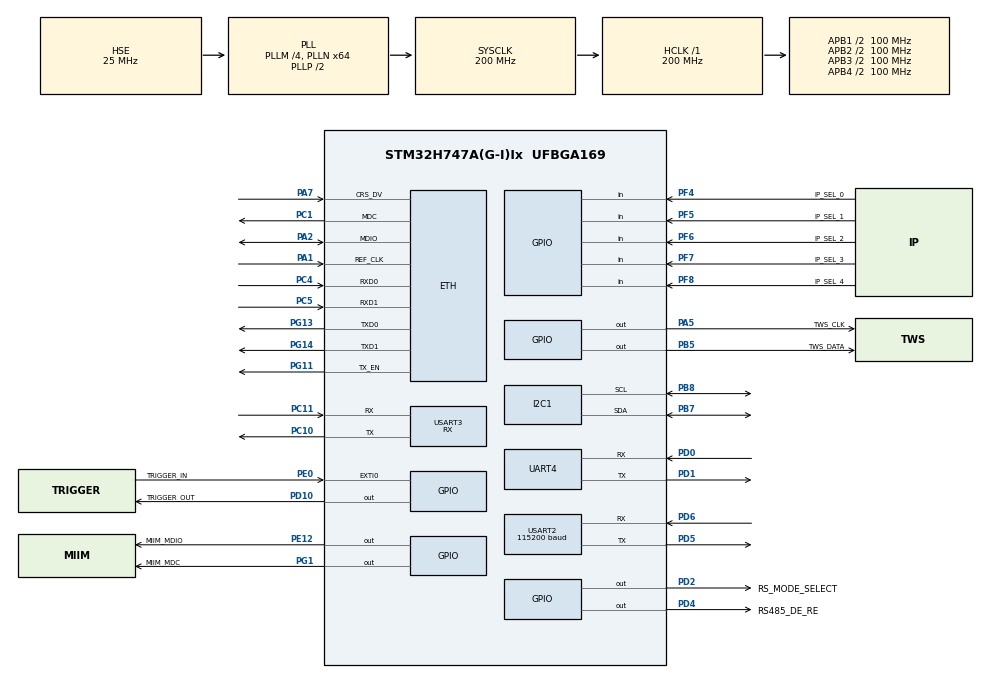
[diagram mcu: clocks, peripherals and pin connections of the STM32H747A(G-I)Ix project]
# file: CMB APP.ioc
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ADC3.Channel-1\#ChannelRegularConversion=ADC_CHANNEL_TEMPSENSOR
ADC3.ClockPrescalerADC3=ADC_CLOCK_ASYNC_DIV1
ADC3.NbrOfConversionFlag=1
ADC3.OffsetNumber-1\#ChannelRegularConversion=ADC_OFFSET_NONE
ADC3.OffsetSignedSaturation-1\#ChannelRegularConversion=DISABLE
ADC3.Rank-1\#ChannelRegularConversion=1
ADC3.SamplingTime-1\#ChannelRegularConversion=ADC_SAMPLETIME_810CYCLES_5
CORTEX_M7.AccessPermission_S-Cortex_Memory_Protection_Unit_Region1_Settings_S=MPU_REGION_FULL_ACCESS
CORTEX_M7.AccessPermission_S-Cortex_Memory_Protection_Unit_Region2_Settings_S=MPU_REGION_FULL_ACCESS
CORTEX_M7.BaseAddress_S-Cortex_Memory_Protection_Unit_Region1_Settings_S=0x30020000
CORTEX_M7.BaseAddress_S-Cortex_Memory_Protection_Unit_Region2_Settings_S=0x30040000
CORTEX_M7.CPU_DCache=Enabled
CORTEX_M7.CPU_ICache=Enabled
CORTEX_M7.DisableExec_S-Cortex_Memory_Protection_Unit_Region1_Settings_S=MPU_INSTRUCTION_ACCESS_DISABLE
CORTEX_M7.DisableExec_S-Cortex_Memory_Protection_Unit_Region2_Settings_S=MPU_INSTRUCTION_ACCESS_DISABLE
CORTEX_M7.Enable_S-Cortex_Memory_Protection_Unit_Region1_Settings_S=MPU_REGION_ENABLE
CORTEX_M7.Enable_S-Cortex_Memory_Protection_Unit_Region2_Settings_S=MPU_REGION_ENABLE
CORTEX_M7.IsBufferable_S-Cortex_Memory_Protection_Unit_Region2_Settings_S=MPU_ACCESS_BUFFERABLE
CORTEX_M7.IsShareable_S-Cortex_Memory_Protection_Unit_Region2_Settings_S=MPU_ACCESS_SHAREABLE
CORTEX_M7.Size_S-Cortex_Memory_Protection_Unit_Region1_Settings_S=MPU_REGION_SIZE_128KB
CORTEX_M7.Size_S-Cortex_Memory_Protection_Unit_Region2_Settings_S=MPU_REGION_SIZE_512B
CORTEX_M7.TypeExtField_S-Cortex_Memory_Protection_Unit_Region1_Settings_S=MPU_TEX_LEVEL1
CORTEX_M7.default_mode_Activation=1
CortexM4.IPs=CORTEX_M4\:I,FATFS_M4\:I,FREERTOS_M4\:I,IWDG2\:I,OPENAMP_M4\:I,PDM2PCM_M4\:I,PWR,RCC,RESMGR_UTILITY,SYS_M4\:I,USB_DEVICE_M4\:I,USB_HOST_M4\:I,VREFBUF,WWDG2\:I,GPIO,DMA,BDMA,MDMA,NVIC2\:I
CortexM7.IPs=CORTEX_M7\:I,FATFS_M7\:I,FREERTOS_M7\:I,IWDG1\:I,OPENAMP_M7\:I,PDM2PCM_M7\:I,PWR\:I,RCC\:I,RESMGR_UTILITY\:I,SYS\:I,USB_DEVICE_M7\:I,USB_HOST_M7\:I,VREFBUF\:I,WWDG1\:I,GPIO\:I,DMA\:I,BDMA\:I,MDMA\:I,NVIC1\:I,ETH\:I,LWIP\:I,TIM1\:I,DEBUG\:I,USART2\:I,USART3\:I,ADC3\:I,I2C1\:I,TIM6\:I,UART4\:I
CortexM7.Pins=PB5,PE0,PD4,PD2,PF4,PF5,PF6,PF7,PF8,PA5,PG1,PE12,PD10
Dma.Request0=USART3_RX
Dma.Request1=USART2_RX
Dma.Request2=UART4_RX
Dma.UART4_RX.2.Direction=DMA_PERIPH_TO_MEMORY
Dma.UART4_RX.2.EventEnable=DISABLE
Dma.UART4_RX.2.FIFOMode=DMA_FIFOMODE_DISABLE
Dma.UART4_RX.2.Instance=DMA1_Stream2
Dma.UART4_RX.2.MemDataAlignment=DMA_MDATAALIGN_BYTE
Dma.UART4_RX.2.MemInc=DMA_MINC_ENABLE
Dma.UART4_RX.2.Mode=DMA_CIRCULAR
Dma.UART4_RX.2.PeriphDataAlignment=DMA_PDATAALIGN_BYTE
Dma.UART4_RX.2.PeriphInc=DMA_PINC_DISABLE
Dma.UART4_RX.2.Polarity=HAL_DMAMUX_REQ_GEN_RISING
Dma.UART4_RX.2.Priority=DMA_PRIORITY_MEDIUM
Dma.UART4_RX.2.RequestNumber=1
Dma.UART4_RX.2.SignalID=NONE
Dma.UART4_RX.2.SyncEnable=DISABLE
Dma.UART4_RX.2.SyncPolarity=HAL_DMAMUX_SYNC_NO_EVENT
Dma.UART4_RX.2.SyncRequestNumber=1
Dma.UART4_RX.2.SyncSignalID=NONE
Dma.USART2_RX.1.Direction=DMA_PERIPH_TO_MEMORY
Dma.USART2_RX.1.EventEnable=DISABLE
Dma.USART2_RX.1.FIFOMode=DMA_FIFOMODE_ENABLE
Dma.USART2_RX.1.FIFOThreshold=DMA_FIFO_THRESHOLD_1QUARTERFULL
Dma.USART2_RX.1.Instance=DMA1_Stream1
Dma.USART2_RX.1.MemBurst=DMA_MBURST_SINGLE
Dma.USART2_RX.1.MemDataAlignment=DMA_MDATAALIGN_BYTE
Dma.USART2_RX.1.MemInc=DMA_MINC_ENABLE
Dma.USART2_RX.1.Mode=DMA_CIRCULAR
Dma.USART2_RX.1.PeriphBurst=DMA_PBURST_SINGLE
Dma.USART2_RX.1.PeriphDataAlignment=DMA_PDATAALIGN_BYTE
Dma.USART2_RX.1.PeriphInc=DMA_PINC_DISABLE
Dma.USART2_RX.1.Polarity=HAL_DMAMUX_REQ_GEN_RISING
Dma.USART2_RX.1.Priority=DMA_PRIORITY_HIGH
Dma.USART2_RX.1.RequestNumber=1
Dma.USART2_RX.1.SignalID=NONE
Dma.USART2_RX.1.SyncEnable=DISABLE
Dma.USART2_RX.1.SyncPolarity=HAL_DMAMUX_SYNC_NO_EVENT
Dma.USART2_RX.1.SyncRequestNumber=1
Dma.USART2_RX.1.SyncSignalID=NONE
Dma.USART3_RX.0.Direction=DMA_PERIPH_TO_MEMORY
Dma.USART3_RX.0.EventEnable=DISABLE
Dma.USART3_RX.0.FIFOMode=DMA_FIFOMODE_ENABLE
Dma.USART3_RX.0.FIFOThreshold=DMA_FIFO_THRESHOLD_1QUARTERFULL
Dma.USART3_RX.0.Instance=DMA1_Stream0
Dma.USART3_RX.0.MemBurst=DMA_MBURST_SINGLE
Dma.USART3_RX.0.MemDataAlignment=DMA_MDATAALIGN_BYTE
Dma.USART3_RX.0.MemInc=DMA_MINC_ENABLE
Dma.USART3_RX.0.Mode=DMA_CIRCULAR
Dma.USART3_RX.0.PeriphBurst=DMA_PBURST_SINGLE
Dma.USART3_RX.0.PeriphDataAlignment=DMA_PDATAALIGN_BYTE
Dma.USART3_RX.0.PeriphInc=DMA_PINC_DISABLE
Dma.USART3_RX.0.Polarity=HAL_DMAMUX_REQ_GEN_RISING
Dma.USART3_RX.0.Priority=DMA_PRIORITY_HIGH
Dma.USART3_RX.0.RequestNumber=1
Dma.USART3_RX.0.SignalID=NONE
Dma.USART3_RX.0.SyncEnable=DISABLE
Dma.USART3_RX.0.SyncPolarity=HAL_DMAMUX_SYNC_NO_EVENT
Dma.USART3_RX.0.SyncRequestNumber=1
Dma.USART3_RX.0.SyncSignalID=NONE
ETH.MACAddr=00\:80\:E1\:00\:08\:04
ETH.MediaInterface=HAL_ETH_RMII_MODE
ETH.RxBufferAddress=0x30040200
ETH.RxDescAddress=0x30040000
ETH.TxDescAddress=0x30040100
FREERTOS_M7.Tasks01=defaultTask,24,1024,StartDefaultTask,Default,NULL,Dynamic,NULL,NULL
FREERTOS_M7.configCHECK_FOR_STACK_OVERFLOW=2
FREERTOS_M7.configMINIMAL_STACK_SIZE=512
FREERTOS_M7.configRECORD_STACK_HIGH_ADDRESS=1
FREERTOS_M7.configTOTAL_HEAP_SIZE=64000
FREERTOS_M7.configUSE_NEWLIB_REENTRANT=1
I2C1.Timing=0x10C0ECFF
LWIP.BSP.number=1
LWIP.DEFAULT_THREAD_STACKSIZE=2048
LWIP.IP_ADDRESS=192.168.035.084
LWIP.LWIP_BROADCAST_PING=1
LWIP.LWIP_DBG_MIN_LEVEL=LWIP_DBG_MASK_LEVEL
LWIP.LWIP_DHCP=0
LWIP.LWIP_ICMP=1
LWIP.LWIP_MULTICAST_PING=1
LWIP.LWIP_NETCONN_SEM_PER_THREAD=0
LWIP.LWIP_NETIF_HOSTNAME=0
LWIP.LWIP_PERF=0
LWIP.LWIP_RAM_HEAP_POINTER=0x30020000
LWIP.LWIP_SO_RCVBUF=1
LWIP.LWIP_SO_RCVTIMEO=1
LWIP.LWIP_TCPIP_CORE_LOCKING=0
LWIP.LWIP_TCPIP_CORE_LOCKING_INPUT=0
LWIP.MEMP_NUM_SYS_TIMEOUT=300
LWIP.MEMP_NUM_TCP_PCB=50
LWIP.MEM_SIZE=131048
LWIP.NETMASK_ADDRESS=255.255.255.000
LWIP.PBUF_POOL_SIZE=32
LWIP.SLIPIF_THREAD_STACKSIZE=2048
LWIP.TCPIP_MBOX_SIZE=16
LWIP.TCPIP_THREAD_STACKSIZE=4096
LWIP.Version=v2.1.2_Cube
LWIP0.BSP.STBoard=false
LWIP0.BSP.api=BSP_COMPONENT_DRIVER
LWIP0.BSP.component=LAN8742
LWIP0.BSP.instance=LAN8742
LWIP0.BSP.name=Driver_PHY
LWIP0.BSP.semaphore=S_LAN8742
LWIP0.BSP.solution=LAN8742
Mcu.Family=STM32H7
Mcu.Name=STM32H747A(G-I)Ix
Mcu.Package=UFBGA169
NVIC1.DMA1_Stream0_IRQn=true\:5\:0\:false\:false\:true\:true\:false\:true\:true
NVIC1.DMA1_Stream1_IRQn=true\:5\:0\:false\:false\:true\:true\:false\:true\:true
NVIC1.DMA1_Stream2_IRQn=true\:5\:0\:false\:false\:true\:true\:false\:true\:true
NVIC1.ETH_IRQn=true\:5\:0\:false\:false\:true\:true\:true\:true\:true
NVIC1.EXTI0_IRQn=true\:5\:0\:true\:true\:true\:1\:true\:true\:true\:true
NVIC1.PriorityGroup=NVIC_PRIORITYGROUP_4
NVIC1.TIM6_DAC_IRQn=true\:15\:0\:false\:false\:true\:false\:false\:true\:true
NVIC1.TimeBase=TIM6_DAC_IRQn
NVIC1.TimeBaseIP=TIM6
NVIC1.UART4_IRQn=true\:5\:0\:false\:false\:true\:true\:true\:true\:true
NVIC1.USART2_IRQn=true\:5\:0\:false\:false\:true\:true\:true\:true\:true
NVIC1.USART3_IRQn=true\:5\:0\:false\:false\:true\:true\:true\:true\:true
NVIC2.PriorityGroup=NVIC_PRIORITYGROUP_4
PA1.GPIO_Speed=GPIO_SPEED_FREQ_VERY_HIGH
PA1.Mode=RMII
PA1.PinAttribute=CortexM7
PA1.Signal=ETH_REF_CLK
PA13\ (JTMS/SWDIO).Mode=Trace_Asynchronous_SW
PA13\ (JTMS/SWDIO).PinAttribute=CortexM7
PA13\ (JTMS/SWDIO).Signal=DEBUG_JTMS-SWDIO
PA14\ (JTCK/SWCLK).Mode=Trace_Asynchronous_SW
PA14\ (JTCK/SWCLK).PinAttribute=CortexM7
PA14\ (JTCK/SWCLK).Signal=DEBUG_JTCK-SWCLK
PA2.GPIO_Speed=GPIO_SPEED_FREQ_VERY_HIGH
PA2.Mode=RMII
PA2.PinAttribute=CortexM7
PA2.Signal=ETH_MDIO
PA5.GPIO_Label=TWS_CLK
PA5.GPIO_Speed=GPIO_SPEED_FREQ_VERY_HIGH
PA5.PinAttribute=CortexM7
PA5.Signal=GPIO_Output
PA7.GPIO_Speed=GPIO_SPEED_FREQ_VERY_HIGH
PA7.Mode=RMII
PA7.PinAttribute=CortexM7
PA7.Signal=ETH_CRS_DV
PB3\ (JTDO/TRACESWO).Mode=Trace_Asynchronous_SW
PB3\ (JTDO/TRACESWO).PinAttribute=CortexM7
PB3\ (JTDO/TRACESWO).Signal=DEBUG_JTDO-SWO
PB5.GPIO_Label=TWS_DATA
PB5.GPIO_Speed=GPIO_SPEED_FREQ_VERY_HIGH
PB5.PinAttribute=CortexM7
PB5.Signal=GPIO_Output
PB7.Mode=I2C
PB7.PinAttribute=CortexM7
PB7.Signal=I2C1_SDA
PB8.Mode=I2C
PB8.PinAttribute=CortexM7
PB8.Signal=I2C1_SCL
PC1.GPIO_Speed=GPIO_SPEED_FREQ_VERY_HIGH
PC1.Mode=RMII
PC1.PinAttribute=CortexM7
PC1.Signal=ETH_MDC
PC10.GPIO_ModeDefaultPP=GPIO_MODE_AF_PP
PC10.GPIO_PuPd=GPIO_NOPULL
PC10.GPIO_Speed=GPIO_SPEED_FREQ_LOW
PC10.Mode=Asynchronous
PC10.PinAttribute=CortexM7
PC10.Signal=USART3_TX
PC11.GPIO_ModeDefaultPP=GPIO_MODE_AF_PP
PC11.GPIO_PuPd=GPIO_NOPULL
PC11.GPIO_Speed=GPIO_SPEED_FREQ_LOW
PC11.Mode=Asynchronous
PC11.PinAttribute=CortexM7
PC11.Signal=USART3_RX
PC14-OSC32_IN\ (OSC32_IN).Mode=LSE-External-Clock-Source
PC14-OSC32_IN\ (OSC32_IN).PinAttribute=Free
PC14-OSC32_IN\ (OSC32_IN).Signal=RCC_OSC32_IN
PC4.GPIO_Speed=GPIO_SPEED_FREQ_VERY_HIGH
PC4.Mode=RMII
PC4.PinAttribute=CortexM7
PC4.Signal=ETH_RXD0
PC5.GPIO_Speed=GPIO_SPEED_FREQ_VERY_HIGH
PC5.Mode=RMII
PC5.PinAttribute=CortexM7
PC5.Signal=ETH_RXD1
PD0.GPIO_Speed=GPIO_SPEED_FREQ_HIGH
PD0.Mode=Asynchronous
PD0.PinAttribute=CortexM7
PD0.Signal=UART4_RX
PD1.GPIO_Speed=GPIO_SPEED_FREQ_HIGH
PD1.Mode=Asynchronous
PD1.PinAttribute=CortexM7
PD1.Signal=UART4_TX
PD10.GPIO_Label=TRIGGER_OUT
PD10.GPIO_PuPd=GPIO_PULLDOWN
PD10.GPIO_Speed=GPIO_SPEED_FREQ_VERY_HIGH
PD10.PinAttribute=CortexM7
PD10.Signal=GPIO_Output
PD2.GPIO_Label=RS_MODE_SELECT
PD2.GPIO_PuPd=GPIO_PULLDOWN
PD2.PinAttribute=CortexM7
PD2.Signal=GPIO_Output
PD4.GPIO_Label=RS485_DE_RE
PD4.GPIO_PuPd=GPIO_PULLDOWN
PD4.PinAttribute=CortexM7
PD4.Signal=GPIO_Output
PD5.Mode=Asynchronous
PD5.PinAttribute=CortexM7
PD5.Signal=USART2_TX
PD6.Mode=Asynchronous
PD6.PinAttribute=CortexM7
PD6.Signal=USART2_RX
PE0.GPIO_Label=TRIGGER_IN
PE0.GPIO_ModeDefaultEXTI=GPIO_MODE_IT_RISING_FALLING
PE0.PinAttribute=CortexM7
PE0.Signal=GPXTI0
PE12.GPIO_Label=MIIM_MDIO
PE12.GPIO_Speed=GPIO_SPEED_FREQ_VERY_HIGH
PE12.PinAttribute=CortexM7
PE12.Signal=GPIO_Output
PF4.GPIO_Label=IP_SEL_0
PF4.GPIO_PuPd=GPIO_PULLUP
PF4.PinAttribute=CortexM7
PF4.Signal=GPIO_Input
PF5.GPIO_Label=IP_SEL_1
PF5.PinAttribute=CortexM7
PF5.Signal=GPIO_Input
PF6.GPIO_Label=IP_SEL_2
PF6.PinAttribute=CortexM7
PF6.Signal=GPIO_Input
PF7.GPIO_Label=IP_SEL_3
PF7.PinAttribute=CortexM7
PF7.Signal=GPIO_Input
PF8.GPIO_Label=IP_SEL_4
PF8.PinAttribute=CortexM7
PF8.Signal=GPIO_Input
PG1.GPIO_Label=MIIM_MDC
PG1.GPIO_PuPd=GPIO_PULLDOWN
PG1.GPIO_Speed=GPIO_SPEED_FREQ_VERY_HIGH
PG1.PinAttribute=CortexM7
PG1.Signal=GPIO_Output
PG11.GPIO_Speed=GPIO_SPEED_FREQ_VERY_HIGH
PG11.Mode=RMII
PG11.PinAttribute=CortexM7
PG11.Signal=ETH_TX_EN
PG13.GPIO_Speed=GPIO_SPEED_FREQ_VERY_HIGH
PG13.Mode=RMII
PG13.PinAttribute=CortexM7
PG13.Signal=ETH_TXD0
PG14.GPIO_Speed=GPIO_SPEED_FREQ_VERY_HIGH
PG14.Mode=RMII
PG14.PinAttribute=CortexM7
PG14.Signal=ETH_TXD1
PH0-OSC_IN\ (PH0).Mode=HSE-External-Clock-Source
PH0-OSC_IN\ (PH0).PinAttribute=Free
PH0-OSC_IN\ (PH0).Signal=RCC_OSC_IN
ProjectManager.HeapSize=M4-0x200,M7-0x200
ProjectManager.StackSize=M4-0x400,M7-0x400
ProjectManager.TargetToolchain=STM32CubeIDE
RCC.ADCFreq_Value=50000000
RCC.APB1Freq_Value=100000000
RCC.APB2Freq_Value=100000000
RCC.APB3Freq_Value=100000000
RCC.APB4Freq_Value=100000000
RCC.CKPERSourceSelection=RCC_CLKPSOURCE_HSE
RCC.CortexFreq_Value=200000000
RCC.D1PPRE=RCC_APB3_DIV2
RCC.D2PPRE1=RCC_APB1_DIV2
RCC.D2PPRE2=RCC_APB2_DIV2
RCC.D3PPRE=RCC_APB4_DIV2
RCC.DIVM1=4
RCC.DIVM2=2
RCC.DIVM3=2
RCC.DIVN1=64
RCC.DIVN2=64
RCC.DIVN3=64
RCC.DIVP2=16
RCC.HCLKFreq_Value=200000000
RCC.PLLSourceVirtual=RCC_PLLSOURCE_HSE
RCC.PWR_Regulator_Voltage_Scale=PWR_REGULATOR_VOLTAGE_SCALE0
RCC.SYSCLKFreq_VALUE=200000000
RCC.SYSCLKSource=RCC_SYSCLKSOURCE_PLLCLK
RCC.SupplySource=PWR_LDO_SUPPLY
RCC.USBFreq_Value=200000000
SYS.userName=SYS_M7
TIM1.AutoReloadPreload=TIM_AUTORELOAD_PRELOAD_ENABLE
TIM1.Prescaler=59
USART2.AutoBaudRateEnableParam=UART_ADVFEATURE_AUTOBAUDRATE_DISABLE
USART2.BaudRate=115200
USART2.DataInvertParam=ADVFEATURE_DATAINV_DISABLE
USART2.VirtualMode-Asynchronous=VM_ASYNC
USART3.AutoBaudRateEnableParam=UART_ADVFEATURE_AUTOBAUDRATE_DISABLE
USART3.Mode=MODE_RX
USART3.VirtualMode-Asynchronous=VM_ASYNC
VP_ADC3_TempSens_Input.Mode=IN-TempSens
VP_FREERTOS_M7_VS_CMSIS_V2.Mode=CMSIS_V2
VP_LWIP_VS_Enabled.Mode=Enabled
VP_SYS_M4_VS_Systick.Mode=SysTick
VP_SYS_VS_tim6.Mode=TIM6
VP_TIM1_VS_ClockSourceINT.Mode=Internal
board=custom

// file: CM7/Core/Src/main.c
/* USER CODE BEGIN Header */
/**
  ******************************************************************************
  * @file           : main.c
  * @brief          : Main program body
  ******************************************************************************
  * @attention
  *
  * Copyright (c) 2024 STMicroelectronics.
  * All rights reserved.
  *
  * This software is licensed under terms that can be found in the LICENSE file
  * in the root directory of this software component.
  * If no LICENSE file comes with this software, it is provided AS-IS.
  *
  ******************************************************************************
  */
/* USER CODE END Header */
#include "main.h"
#include "cmsis_os.h"
#include "lwip.h"

/* USER CODE BEGIN Includes */
#include "sht4x.h"
#include "tws_driver.h"
#include "lwiperf.h"
#include "serial_comm.h"
#include "udpclient.h"
#include "MQTTClient.h"
#include "MQTTTopic.h"
#include "mqtt_opts.h"
#include "PMB_comm.h"
/* USER CODE END Includes */

/* USER CODE BEGIN PTD */
int _write(int file, char *ptr, int len)
{
  int DataIdx;

  for (DataIdx = 0; DataIdx < len; DataIdx++)
  {
    ITM_SendChar(*ptr++);
  }
  return len;
}
/* USER CODE END PTD */

/* USER CODE BEGIN PD */

#ifndef HSEM_ID_0
#define HSEM_ID_0 (0U) /* HW semaphore 0*/
#endif

// Calibration values for temperature sensor from STM32 datasheet
#define TS_CAL1_ADDR ((uint16_t*) 0x1FF1E820) // Address for TS_CAL1
#define TS_CAL2_ADDR ((uint16_t*) 0x1FF1E840) // Address for TS_CAL2
#define MY_TS_CAL1_TEMP 30.0f  // Calibration temperature for TS_CAL1 (30°C)
#define MY_TS_CAL2_TEMP 110.0f // Calibration temperature for TS_CAL2 (110°C)
/* USER CODE END PD */

ADC_HandleTypeDef hadc3;

I2C_HandleTypeDef hi2c1;

TIM_HandleTypeDef htim1;

UART_HandleTypeDef huart4;
UART_HandleTypeDef huart2;
UART_HandleTypeDef huart3;
DMA_HandleTypeDef hdma_uart4_rx;
DMA_HandleTypeDef hdma_usart2_rx;
DMA_HandleTypeDef hdma_usart3_rx;

/* Definitions for defaultTask */
osThreadId_t defaultTaskHandle;
const osThreadAttr_t defaultTask_attributes = {
  .name = "defaultTask",
  .stack_size = 1024 * 4,
  .priority = (osPriority_t) osPriorityNormal,
};
/* USER CODE BEGIN PV */
int slot = 0;  // Define the global variable for the slot number
int Trigger_Switch = 0; // Default value (0 = disabled, 1 = enabled)
/* USER CODE END PV */

void SystemClock_Config(void);
static void MPU_Config(void);
static void MX_GPIO_Init(void);
static void MX_DMA_Init(void);
static void MX_TIM1_Init(void);
static void MX_USART2_UART_Init(void);
static void MX_USART3_UART_Init(void);
static void MX_ADC3_Init(void);
static void MX_I2C1_Init(void);
static void MX_UART4_Init(void);
void StartDefaultTask(void *argument);

static void MX_NVIC_Init(void);

int main(void)
{

  /* USER CODE BEGIN 1 */
//	NVIC_ClearPendingIRQ(TIM6_DAC_IRQn);
//
//    NVIC_DisableIRQ(TIM6_DAC_IRQn);

    /* Enable TIM6 clock and reset TIM6 */
    __HAL_RCC_TIM6_CLK_ENABLE();
    __HAL_RCC_TIM6_FORCE_RESET();
    __HAL_RCC_TIM6_RELEASE_RESET();
  /* USER CODE END 1 */
/* USER CODE BEGIN Boot_Mode_Sequence_0 */
  int32_t timeout;
/* USER CODE END Boot_Mode_Sequence_0 */

  /* MPU Configuration--------------------------------------------------------*/
  MPU_Config();

  /* Enable the CPU Cache */

  /* Enable I-Cache---------------------------------------------------------*/
  SCB_EnableICache();

  /* Enable D-Cache---------------------------------------------------------*/
  SCB_EnableDCache();

/* USER CODE BEGIN Boot_Mode_Sequence_1 */
  /* Wait until CPU2 boots and enters in stop mode or timeout*/
//  timeout = 0xFFFF;
//  while((__HAL_RCC_GET_FLAG(RCC_FLAG_D2CKRDY) != RESET) && (timeout-- > 0));
//  if ( timeout < 0 )
//  {
//  Error_Handler();
//  }
/* USER CODE END Boot_Mode_Sequence_1 */
  /* MCU Configuration--------------------------------------------------------*/

  /* Reset of all peripherals, Initializes the Flash interface and the Systick. */
  HAL_Init();

  /* Configure the system clock */
  SystemClock_Config();
/* USER CODE BEGIN Boot_Mode_Sequence_2 */
/* When system initialization is finished, Cortex-M7 will release Cortex-M4 by means of
HSEM notification */
/*HW semaphore Clock enable*/
//__HAL_RCC_HSEM_CLK_ENABLE();
///*Take HSEM */
//HAL_HSEM_FastTake(HSEM_ID_0);
///*Release HSEM in order to notify the CPU2(CM4)*/
//HAL_HSEM_Release(HSEM_ID_0,0);
///* wait until CPU2 wakes up from stop mode */
//timeout = 0xFFFF;
//while((__HAL_RCC_GET_FLAG(RCC_FLAG_D2CKRDY) == RESET) && (timeout-- > 0));
//if ( timeout < 0 )
//{
//Error_Handler();
//}
/* USER CODE END Boot_Mode_Sequence_2 */

  /* Initialize all configured peripherals */
  MX_GPIO_Init();
  MX_DMA_Init();
  MX_TIM1_Init();
  MX_USART2_UART_Init();
  MX_USART3_UART_Init();
  MX_ADC3_Init();
  MX_I2C1_Init();
  MX_UART4_Init();

  /* Initialize interrupts */
  MX_NVIC_Init();
  /* USER CODE BEGIN 2 */
  printf("Initializing\n");
  /* USER CODE END 2 */

  /* Init scheduler */
  osKernelInitialize();

  /* Create the thread(s) */
  /* creation of defaultTask */
  defaultTaskHandle = osThreadNew(StartDefaultTask, NULL, &defaultTask_attributes);

  /* Start scheduler */
  osKernelStart();

  /* We should never get here as control is now taken by the scheduler */

  /* Infinite loop */
  while (1)
  {

  }
}

void SystemClock_Config(void)
{
  RCC_OscInitTypeDef RCC_OscInitStruct = {0};
  RCC_ClkInitTypeDef RCC_ClkInitStruct = {0};

  /** Supply configuration update enable
  */
  HAL_PWREx_ConfigSupply(PWR_LDO_SUPPLY);

  /** Configure the main internal regulator output voltage
  */
  __HAL_PWR_VOLTAGESCALING_CONFIG(PWR_REGULATOR_VOLTAGE_SCALE1);

  while(!__HAL_PWR_GET_FLAG(PWR_FLAG_VOSRDY)) {}

  __HAL_RCC_SYSCFG_CLK_ENABLE();
  __HAL_PWR_VOLTAGESCALING_CONFIG(PWR_REGULATOR_VOLTAGE_SCALE0);

  while(!__HAL_PWR_GET_FLAG(PWR_FLAG_VOSRDY)) {}

  /** Initializes the RCC Oscillators according to the specified parameters
  * in the RCC_OscInitTypeDef structure.
  */
  RCC_OscInitStruct.OscillatorType = RCC_OSCILLATORTYPE_HSE;
  RCC_OscInitStruct.HSEState = RCC_HSE_BYPASS;
  RCC_OscInitStruct.PLL.PLLState = RCC_PLL_ON;
  RCC_OscInitStruct.PLL.PLLSource = RCC_PLLSOURCE_HSE;
  RCC_OscInitStruct.PLL.PLLM = 4;
  RCC_OscInitStruct.PLL.PLLN = 64;
  RCC_OscInitStruct.PLL.PLLP = 2;
  RCC_OscInitStruct.PLL.PLLQ = 2;
  RCC_OscInitStruct.PLL.PLLR = 2;
  RCC_OscInitStruct.PLL.PLLRGE = RCC_PLL1VCIRANGE_2;
  RCC_OscInitStruct.PLL.PLLVCOSEL = RCC_PLL1VCOWIDE;
  RCC_OscInitStruct.PLL.PLLFRACN = 0;
  if (HAL_RCC_OscConfig(&RCC_OscInitStruct) != HAL_OK)
  {
    Error_Handler();
  }

  /** Initializes the CPU, AHB and APB buses clocks
  */
  RCC_ClkInitStruct.ClockType = RCC_CLOCKTYPE_HCLK|RCC_CLOCKTYPE_SYSCLK
                              |RCC_CLOCKTYPE_PCLK1|RCC_CLOCKTYPE_PCLK2
                              |RCC_CLOCKTYPE_D3PCLK1|RCC_CLOCKTYPE_D1PCLK1;
  RCC_ClkInitStruct.SYSCLKSource = RCC_SYSCLKSOURCE_PLLCLK;
  RCC_ClkInitStruct.SYSCLKDivider = RCC_SYSCLK_DIV1;
  RCC_ClkInitStruct.AHBCLKDivider = RCC_HCLK_DIV1;
  RCC_ClkInitStruct.APB3CLKDivider = RCC_APB3_DIV2;
  RCC_ClkInitStruct.APB1CLKDivider = RCC_APB1_DIV2;
  RCC_ClkInitStruct.APB2CLKDivider = RCC_APB2_DIV2;
  RCC_ClkInitStruct.APB4CLKDivider = RCC_APB4_DIV2;

  if (HAL_RCC_ClockConfig(&RCC_ClkInitStruct, FLASH_LATENCY_2) != HAL_OK)
  {
    Error_Handler();
  }
}

/**
  * @brief NVIC Configuration.
  * @retval None
  */
static void MX_NVIC_Init(void)
{
  /* EXTI0_IRQn interrupt configuration */
  HAL_NVIC_SetPriority(EXTI0_IRQn, 5, 0);
  HAL_NVIC_EnableIRQ(EXTI0_IRQn);
}

static void MX_ADC3_Init(void)
{

  ADC_ChannelConfTypeDef sConfig = {0};

  /** Common config
  */
  hadc3.Instance = ADC3;
  hadc3.Init.ClockPrescaler = ADC_CLOCK_ASYNC_DIV1;
  hadc3.Init.ScanConvMode = ADC_SCAN_DISABLE;
  hadc3.Init.EOCSelection = ADC_EOC_SINGLE_CONV;
  hadc3.Init.LowPowerAutoWait = DISABLE;
  hadc3.Init.ContinuousConvMode = DISABLE;
  hadc3.Init.NbrOfConversion = 1;
  hadc3.Init.DiscontinuousConvMode = DISABLE;
  hadc3.Init.ExternalTrigConv = ADC_SOFTWARE_START;
  hadc3.Init.ExternalTrigConvEdge = ADC_EXTERNALTRIGCONVEDGE_NONE;
  hadc3.Init.ConversionDataManagement = ADC_CONVERSIONDATA_DR;
  hadc3.Init.Overrun = ADC_OVR_DATA_PRESERVED;
  hadc3.Init.LeftBitShift = ADC_LEFTBITSHIFT_NONE;
  hadc3.Init.OversamplingMode = DISABLE;
  hadc3.Init.Oversampling.Ratio = 1;
  if (HAL_ADC_Init(&hadc3) != HAL_OK)
  {
    Error_Handler();
  }
  hadc3.Init.Resolution = ADC_RESOLUTION_16B;
  if (HAL_ADC_Init(&hadc3) != HAL_OK)
  {
    Error_Handler();
  }

  /** Configure Regular Channel
  */
  sConfig.Channel = ADC_CHANNEL_TEMPSENSOR;
  sConfig.Rank = ADC_REGULAR_RANK_1;
  sConfig.SamplingTime = ADC_SAMPLETIME_810CYCLES_5;
  sConfig.SingleDiff = ADC_SINGLE_ENDED;
  sConfig.OffsetNumber = ADC_OFFSET_NONE;
  sConfig.Offset = 0;
  sConfig.OffsetSignedSaturation = DISABLE;
  if (HAL_ADC_ConfigChannel(&hadc3, &sConfig) != HAL_OK)
  {
    Error_Handler();
  }

}

static void MX_I2C1_Init(void)
{

  hi2c1.Instance = I2C1;
  hi2c1.Init.Timing = 0x10C0ECFF;
  hi2c1.Init.OwnAddress1 = 0;
  hi2c1.Init.AddressingMode = I2C_ADDRESSINGMODE_7BIT;
  hi2c1.Init.DualAddressMode = I2C_DUALADDRESS_DISABLE;
  hi2c1.Init.OwnAddress2 = 0;
  hi2c1.Init.OwnAddress2Masks = I2C_OA2_NOMASK;
  hi2c1.Init.GeneralCallMode = I2C_GENERALCALL_DISABLE;
  hi2c1.Init.NoStretchMode = I2C_NOSTRETCH_DISABLE;
  if (HAL_I2C_Init(&hi2c1) != HAL_OK)
  {
    Error_Handler();
  }

  /** Configure Analogue filter
  */
  if (HAL_I2CEx_ConfigAnalogFilter(&hi2c1, I2C_ANALOGFILTER_ENABLE) != HAL_OK)
  {
    Error_Handler();
  }

  /** Configure Digital filter
  */
  if (HAL_I2CEx_ConfigDigitalFilter(&hi2c1, 0) != HAL_OK)
  {
    Error_Handler();
  }

}

static void MX_TIM1_Init(void)
{

  TIM_ClockConfigTypeDef sClockSourceConfig = {0};
  TIM_MasterConfigTypeDef sMasterConfig = {0};

  htim1.Instance = TIM1;
  htim1.Init.Prescaler = 59;
  htim1.Init.CounterMode = TIM_COUNTERMODE_UP;
  htim1.Init.Period = 65535;
  htim1.Init.ClockDivision = TIM_CLOCKDIVISION_DIV1;
  htim1.Init.RepetitionCounter = 0;
  htim1.Init.AutoReloadPreload = TIM_AUTORELOAD_PRELOAD_ENABLE;
  if (HAL_TIM_Base_Init(&htim1) != HAL_OK)
  {
    Error_Handler();
  }
  sClockSourceConfig.ClockSource = TIM_CLOCKSOURCE_INTERNAL;
  if (HAL_TIM_ConfigClockSource(&htim1, &sClockSourceConfig) != HAL_OK)
  {
    Error_Handler();
  }
  sMasterConfig.MasterOutputTrigger = TIM_TRGO_RESET;
  sMasterConfig.MasterOutputTrigger2 = TIM_TRGO2_RESET;
  sMasterConfig.MasterSlaveMode = TIM_MASTERSLAVEMODE_DISABLE;
  if (HAL_TIMEx_MasterConfigSynchronization(&htim1, &sMasterConfig) != HAL_OK)
  {
    Error_Handler();
  }

}

static void MX_UART4_Init(void)
{

  huart4.Instance = UART4;
  huart4.Init.BaudRate = 115200;
  huart4.Init.WordLength = UART_WORDLENGTH_8B;
  huart4.Init.StopBits = UART_STOPBITS_1;
  huart4.Init.Parity = UART_PARITY_NONE;
  huart4.Init.Mode = UART_MODE_TX_RX;
  huart4.Init.HwFlowCtl = UART_HWCONTROL_NONE;
  huart4.Init.OverSampling = UART_OVERSAMPLING_16;
  huart4.Init.OneBitSampling = UART_ONE_BIT_SAMPLE_DISABLE;
  huart4.Init.ClockPrescaler = UART_PRESCALER_DIV1;
  huart4.AdvancedInit.AdvFeatureInit = UART_ADVFEATURE_NO_INIT;
  if (HAL_UART_Init(&huart4) != HAL_OK)
  {
    Error_Handler();
  }
  if (HAL_UARTEx_SetTxFifoThreshold(&huart4, UART_TXFIFO_THRESHOLD_1_8) != HAL_OK)
  {
    Error_Handler();
  }
  if (HAL_UARTEx_SetRxFifoThreshold(&huart4, UART_RXFIFO_THRESHOLD_1_8) != HAL_OK)
  {
    Error_Handler();
  }
  if (HAL_UARTEx_DisableFifoMode(&huart4) != HAL_OK)
  {
    Error_Handler();
  }

}

static void MX_USART2_UART_Init(void)
{

  huart2.Instance = USART2;
  huart2.Init.BaudRate = 115200;
  huart2.Init.WordLength = UART_WORDLENGTH_8B;
  huart2.Init.StopBits = UART_STOPBITS_1;
  huart2.Init.Parity = UART_PARITY_NONE;
  huart2.Init.Mode = UART_MODE_TX_RX;
  huart2.Init.HwFlowCtl = UART_HWCONTROL_NONE;
  huart2.Init.OverSampling = UART_OVERSAMPLING_16;
  huart2.Init.OneBitSampling = UART_ONE_BIT_SAMPLE_DISABLE;
  huart2.Init.ClockPrescaler = UART_PRESCALER_DIV1;
  huart2.AdvancedInit.AdvFeatureInit = UART_ADVFEATURE_NO_INIT;
  if (HAL_UART_Init(&huart2) != HAL_OK)
  {
    Error_Handler();
  }
  if (HAL_UARTEx_SetTxFifoThreshold(&huart2, UART_TXFIFO_THRESHOLD_1_8) != HAL_OK)
  {
    Error_Handler();
  }
  if (HAL_UARTEx_SetRxFifoThreshold(&huart2, UART_RXFIFO_THRESHOLD_1_8) != HAL_OK)
  {
    Error_Handler();
  }
  if (HAL_UARTEx_DisableFifoMode(&huart2) != HAL_OK)
  {
    Error_Handler();
  }

}

static void MX_USART3_UART_Init(void)
{

  huart3.Instance = USART3;
  huart3.Init.BaudRate = 115200;
  huart3.Init.WordLength = UART_WORDLENGTH_8B;
  huart3.Init.StopBits = UART_STOPBITS_1;
  huart3.Init.Parity = UART_PARITY_NONE;
  huart3.Init.Mode = UART_MODE_RX;
  huart3.Init.HwFlowCtl = UART_HWCONTROL_NONE;
  huart3.Init.OverSampling = UART_OVERSAMPLING_16;
  huart3.Init.OneBitSampling = UART_ONE_BIT_SAMPLE_DISABLE;
  huart3.Init.ClockPrescaler = UART_PRESCALER_DIV1;
  huart3.AdvancedInit.AdvFeatureInit = UART_ADVFEATURE_NO_INIT;
  if (HAL_UART_Init(&huart3) != HAL_OK)
  {
    Error_Handler();
  }
  if (HAL_UARTEx_SetTxFifoThreshold(&huart3, UART_TXFIFO_THRESHOLD_1_8) != HAL_OK)
  {
    Error_Handler();
  }
  if (HAL_UARTEx_SetRxFifoThreshold(&huart3, UART_RXFIFO_THRESHOLD_1_8) != HAL_OK)
  {
    Error_Handler();
  }
  if (HAL_UARTEx_DisableFifoMode(&huart3) != HAL_OK)
  {
    Error_Handler();
  }

}

static void MX_DMA_Init(void)
{

  /* DMA controller clock enable */
  __HAL_RCC_DMA1_CLK_ENABLE();

  /* DMA interrupt init */
  /* DMA1_Stream0_IRQn interrupt configuration */
  HAL_NVIC_SetPriority(DMA1_Stream0_IRQn, 5, 0);
  HAL_NVIC_EnableIRQ(DMA1_Stream0_IRQn);
  /* DMA1_Stream1_IRQn interrupt configuration */
  HAL_NVIC_SetPriority(DMA1_Stream1_IRQn, 5, 0);
  HAL_NVIC_EnableIRQ(DMA1_Stream1_IRQn);
  /* DMA1_Stream2_IRQn interrupt configuration */
  HAL_NVIC_SetPriority(DMA1_Stream2_IRQn, 5, 0);
  HAL_NVIC_EnableIRQ(DMA1_Stream2_IRQn);

}

static void MX_GPIO_Init(void)
{
  GPIO_InitTypeDef GPIO_InitStruct = {0};

  /* GPIO Ports Clock Enable */
  __HAL_RCC_GPIOB_CLK_ENABLE();
  __HAL_RCC_GPIOA_CLK_ENABLE();
  __HAL_RCC_GPIOD_CLK_ENABLE();
  __HAL_RCC_GPIOC_CLK_ENABLE();
  __HAL_RCC_GPIOE_CLK_ENABLE();
  __HAL_RCC_GPIOG_CLK_ENABLE();
  __HAL_RCC_GPIOF_CLK_ENABLE();

  /*Configure GPIO pin Output Level */
  HAL_GPIO_WritePin(TWS_DATA_GPIO_Port, TWS_DATA_Pin, GPIO_PIN_RESET);

  /*Configure GPIO pin Output Level */
  HAL_GPIO_WritePin(GPIOD, RS485_DE_RE_Pin|RS_MODE_SELECT_Pin|TRIGGER_OUT_Pin, GPIO_PIN_RESET);

  /*Configure GPIO pin Output Level */
  HAL_GPIO_WritePin(TWS_CLK_GPIO_Port, TWS_CLK_Pin, GPIO_PIN_RESET);

  /*Configure GPIO pin Output Level */
  HAL_GPIO_WritePin(MIIM_MDC_GPIO_Port, MIIM_MDC_Pin, GPIO_PIN_RESET);

  /*Configure GPIO pin Output Level */
  HAL_GPIO_WritePin(MIIM_MDIO_GPIO_Port, MIIM_MDIO_Pin, GPIO_PIN_RESET);

  /*Configure GPIO pin : TWS_DATA_Pin */
  GPIO_InitStruct.Pin = TWS_DATA_Pin;
  GPIO_InitStruct.Mode = GPIO_MODE_OUTPUT_PP;
  GPIO_InitStruct.Pull = GPIO_NOPULL;
  GPIO_InitStruct.Speed = GPIO_SPEED_FREQ_VERY_HIGH;
  HAL_GPIO_Init(TWS_DATA_GPIO_Port, &GPIO_InitStruct);

  /*Configure GPIO pin : TRIGGER_IN_Pin */
  GPIO_InitStruct.Pin = TRIGGER_IN_Pin;
  GPIO_InitStruct.Mode = GPIO_MODE_IT_RISING_FALLING;
  GPIO_InitStruct.Pull = GPIO_NOPULL;
  HAL_GPIO_Init(TRIGGER_IN_GPIO_Port, &GPIO_InitStruct);

  /*Configure GPIO pins : RS485_DE_RE_Pin RS_MODE_SELECT_Pin */
  GPIO_InitStruct.Pin = RS485_DE_RE_Pin|RS_MODE_SELECT_Pin;
  GPIO_InitStruct.Mode = GPIO_MODE_OUTPUT_PP;
  GPIO_InitStruct.Pull = GPIO_PULLDOWN;
  GPIO_InitStruct.Speed = GPIO_SPEED_FREQ_LOW;
  HAL_GPIO_Init(GPIOD, &GPIO_InitStruct);

  /*Configure GPIO pin : IP_SEL_0_Pin */
  GPIO_InitStruct.Pin = IP_SEL_0_Pin;
  GPIO_InitStruct.Mode = GPIO_MODE_INPUT;
  GPIO_InitStruct.Pull = GPIO_PULLUP;
  HAL_GPIO_Init(IP_SEL_0_GPIO_Port, &GPIO_InitStruct);

  /*Configure GPIO pins : IP_SEL_1_Pin IP_SEL_2_Pin IP_SEL_3_Pin IP_SEL_4_Pin */
  GPIO_InitStruct.Pin = IP_SEL_1_Pin|IP_SEL_2_Pin|IP_SEL_3_Pin|IP_SEL_4_Pin;
  GPIO_InitStruct.Mode = GPIO_MODE_INPUT;
  GPIO_InitStruct.Pull = GPIO_NOPULL;
  HAL_GPIO_Init(GPIOF, &GPIO_InitStruct);

  /*Configure GPIO pin : TWS_CLK_Pin */
  GPIO_InitStruct.Pin = TWS_CLK_Pin;
  GPIO_InitStruct.Mode = GPIO_MODE_OUTPUT_PP;
  GPIO_InitStruct.Pull = GPIO_NOPULL;
  GPIO_InitStruct.Speed = GPIO_SPEED_FREQ_VERY_HIGH;
  HAL_GPIO_Init(TWS_CLK_GPIO_Port, &GPIO_InitStruct);

  /*Configure GPIO pin : MIIM_MDC_Pin */
  GPIO_InitStruct.Pin = MIIM_MDC_Pin;
  GPIO_InitStruct.Mode = GPIO_MODE_OUTPUT_PP;
  GPIO_InitStruct.Pull = GPIO_PULLDOWN;
  GPIO_InitStruct.Speed = GPIO_SPEED_FREQ_VERY_HIGH;
  HAL_GPIO_Init(MIIM_MDC_GPIO_Port, &GPIO_InitStruct);

  /*Configure GPIO pin : MIIM_MDIO_Pin */
  GPIO_InitStruct.Pin = MIIM_MDIO_Pin;
  GPIO_InitStruct.Mode = GPIO_MODE_OUTPUT_PP;
  GPIO_InitStruct.Pull = GPIO_NOPULL;
  GPIO_InitStruct.Speed = GPIO_SPEED_FREQ_VERY_HIGH;
  HAL_GPIO_Init(MIIM_MDIO_GPIO_Port, &GPIO_InitStruct);

  /*Configure GPIO pin : TRIGGER_OUT_Pin */
  GPIO_InitStruct.Pin = TRIGGER_OUT_Pin;
  GPIO_InitStruct.Mode = GPIO_MODE_OUTPUT_PP;
  GPIO_InitStruct.Pull = GPIO_PULLDOWN;
  GPIO_InitStruct.Speed = GPIO_SPEED_FREQ_VERY_HIGH;
  HAL_GPIO_Init(TRIGGER_OUT_GPIO_Port, &GPIO_InitStruct);

}

/* USER CODE BEGIN 4 */
/**
  * @brief  GPIO EXTI callback
  * @param  GPIO_Pin: Specifies the pins connected to EXTI line
  * @retval None
  */
void HAL_GPIO_EXTI_Callback(uint16_t GPIO_Pin)
{
    // Check if the interrupt is triggered by TRIGGER_IN_Pin
    if (GPIO_Pin == TRIGGER_IN_Pin)
    {
        // Check if trigger functionality is enabled
        if (Trigger_Switch == 1)
        {
            // Read the state of the pin
            GPIO_PinState pinState = HAL_GPIO_ReadPin(TRIGGER_IN_GPIO_Port, TRIGGER_IN_Pin);

            // Send UDP message based on the pin state
            if (pinState == GPIO_PIN_RESET)
            {
                udpsend_trigger("1", 1); // For trigger data
            }
            else
            {
                udpsend_trigger("0", 1); // For trigger data
            }
        }
        else
        {
            // Trigger functionality is disabled, no action taken
            printf("Trigger functionality is disabled. No UDP message sent.\n");
        }
    }
}

/* USER CODE END 4 */

void StartDefaultTask(void *argument)
{
  /* init code for LWIP */
  MX_LWIP_Init();
  /* USER CODE BEGIN 5 */
  osDelay(50);
  ETH_PHY_IO_WriteReg(0, 0, 8448);
  osDelay(50);

  sensirion_i2c_init();

	/* Busy loop for initialization, because the main loop does not work without
	 * a sensor.
	 */
	while (sht4x_probe() != STATUS_OK) {
		printf("SHT sensor probing failed\n");
		sensirion_sleep_usec(1000000); /* sleep 1s */
	}
	printf("SHT sensor probing successful\n");

  // Variable to store ADC values and temperature
  uint32_t adc_value;
  float temperature;

  // Get the calibration values from memory
  uint16_t ts_cal1 = *TS_CAL1_ADDR;
  uint16_t ts_cal2 = *TS_CAL2_ADDR;

  const float TS_CAL1_TEMP = 30.0f;
  const float TS_CAL2_TEMP = 110.0f;

  // Topic for publishing temperature updates
  char temperature_topic[128];
  char humidity_topic[128];
  snprintf(temperature_topic, sizeof(temperature_topic), "CMB/slot%d/status/temperature", slot);
  snprintf(humidity_topic, sizeof(humidity_topic), "CMB/slot%d/status/humidity", slot);
  extern struct mqtt_connect_client_info_t mqtt_client_info;

  // Wait for PMB initialization (adjust delay as needed)
  osDelay(50);

  mqtt_example_init();  // Initial MQTT connection
  osDelay(50);
  publish_channel_config(mqtt_client, slot);
  osDelay(10);
  PMB_Comm_Init();
    for (;;)
    {
		osDelay(10);
//        PMB_Comm_ConfigureDCSwitch(port, channel, current_limit, on, status_burst);
//        osDelay(2000);
////        // Get the latest system status
//        PMB_SystemStatus_t status = PMB_GetLatestSystemStatus();
//
////		// Print the system status
//		printf("System Status:\n");
//		printf("Elapsed Time: %f s\n", status.elapsed_time);
//		printf("System State: %d\n", status.system_state);
//		printf("Fault Mask: %d\n", status.fault_mask);
//		PMB_Comm_ConfigureDCSwitch(port, channel, current_limit, off, status_burst);

//         Start ADC conversion for temperature
//		HAL_ADC_Start(&hadc3);
//		HAL_ADC_PollForConversion(&hadc3, HAL_MAX_DELAY);
//		adc_value = HAL_ADC_GetValue(&hadc3);
//
//		// Calculate temperature
//		temperature = ((float)(adc_value - ts_cal1) * (TS_CAL2_TEMP - TS_CAL1_TEMP) / (float)(ts_cal2 - ts_cal1)) + TS_CAL1_TEMP;
//
//		// Print and publish the temperature
//		printf("Temperature: %.2f°C\n", temperature);

//    	int32_t temperature, humidity;
//
//    	/* Measure temperature and relative humidity and store into variables
//    	 * temperature, humidity (each output multiplied by 1000).
//    	 */
//    	int8_t ret = sht4x_measure_blocking_read(&temperature, &humidity);
//    	if (ret == STATUS_OK) {
////    	    printf("measured temperature: %0.2f degreeCelsius, "
////    	           "measured humidity: %0.2f percentRH\n",
////    	           temperature / 1000.0f, humidity / 1000.0f);
//    		printf("measured");
//    	} else {
//    	    printf("error reading measurement\n");
//    	}
//
//    	/* Sleep for 1 second */
//    	sensirion_sleep_usec(10000);
//
//    	// Publish temperature data to the MQTT broker
//    	char temperature_message[64];
//    	snprintf(temperature_message, sizeof(temperature_message), "%.2f", temperature / 1000.0f);
//
//    	err_t err = mqtt_publish(mqtt_client,
//    	                         temperature_topic,          // Topic
//    	                         temperature_message,        // Message
//    	                         strlen(temperature_message),// Message length
//    	                         1,                          // QoS level
//    	                         0,                          // Retain flag
//    	                         mqtt_request_cb,            // Callback function
//    	                         LWIP_CONST_CAST(void*, &mqtt_client_info)); // Callback argument
//
//    	if (err != ERR_OK) {
//    	    LWIP_PLATFORM_DIAG(("Failed to publish temperature, error %d\n", err));
//    	}
//		osDelay(500);
//        char humidity_message[64];
//        snprintf(humidity_message, sizeof(humidity_message), "%.2f", humidity / 1000.0f);
//
//        err_t err_hum = mqtt_publish(mqtt_client,
//                                     humidity_topic,             // Topic
//                                     humidity_message,           // Message
//                                     strlen(humidity_message),   // Message length
//                                     1,                          // QoS level
//                                     0,                          // Retain flag
//                                     mqtt_request_cb,            // Callback function
//                                     LWIP_CONST_CAST(void*, &mqtt_client_info)); // Callback argument
//
//        if (err_hum != ERR_OK) {
//            LWIP_PLATFORM_DIAG(("Failed to publish humidity, error %d\n", err_hum));
//        }
//
//		// Delay for 2 seconds

    }
  /* USER CODE END 5 */
}

 /* MPU Configuration */

void MPU_Config(void)
{
  MPU_Region_InitTypeDef MPU_InitStruct = {0};

  /* Disables the MPU */
  HAL_MPU_Disable();

  /** Initializes and configures the Region and the memory to be protected
  */
  MPU_InitStruct.Enable = MPU_REGION_ENABLE;
  MPU_InitStruct.Number = MPU_REGION_NUMBER0;
  MPU_InitStruct.BaseAddress = 0x0;
  MPU_InitStruct.Size = MPU_REGION_SIZE_4GB;
  MPU_InitStruct.SubRegionDisable = 0x87;
  MPU_InitStruct.TypeExtField = MPU_TEX_LEVEL0;
  MPU_InitStruct.AccessPermission = MPU_REGION_NO_ACCESS;
  MPU_InitStruct.DisableExec = MPU_INSTRUCTION_ACCESS_DISABLE;
  MPU_InitStruct.IsShareable = MPU_ACCESS_SHAREABLE;
  MPU_InitStruct.IsCacheable = MPU_ACCESS_NOT_CACHEABLE;
  MPU_InitStruct.IsBufferable = MPU_ACCESS_NOT_BUFFERABLE;

  HAL_MPU_ConfigRegion(&MPU_InitStruct);

  /** Initializes and configures the Region and the memory to be protected
  */
  MPU_InitStruct.Number = MPU_REGION_NUMBER1;
  MPU_InitStruct.BaseAddress = 0x30020000;
  MPU_InitStruct.Size = MPU_REGION_SIZE_128KB;
  MPU_InitStruct.SubRegionDisable = 0x0;
  MPU_InitStruct.TypeExtField = MPU_TEX_LEVEL1;
  MPU_InitStruct.AccessPermission = MPU_REGION_FULL_ACCESS;
  MPU_InitStruct.IsShareable = MPU_ACCESS_NOT_SHAREABLE;

  HAL_MPU_ConfigRegion(&MPU_InitStruct);

  /** Initializes and configures the Region and the memory to be protected
  */
  MPU_InitStruct.Number = MPU_REGION_NUMBER2;
  MPU_InitStruct.BaseAddress = 0x30040000;
  MPU_InitStruct.Size = MPU_REGION_SIZE_512B;
  MPU_InitStruct.TypeExtField = MPU_TEX_LEVEL0;
  MPU_InitStruct.IsShareable = MPU_ACCESS_SHAREABLE;
  MPU_InitStruct.IsBufferable = MPU_ACCESS_BUFFERABLE;

  HAL_MPU_ConfigRegion(&MPU_InitStruct);
  /* Enables the MPU */
  HAL_MPU_Enable(MPU_PRIVILEGED_DEFAULT);

}

void HAL_TIM_PeriodElapsedCallback(TIM_HandleTypeDef *htim)
{
  if (htim->Instance == TIM6) {
    HAL_IncTick();
  }
}

void Error_Handler(void)
{
  __disable_irq();
  while (1)
  {
  }
}
